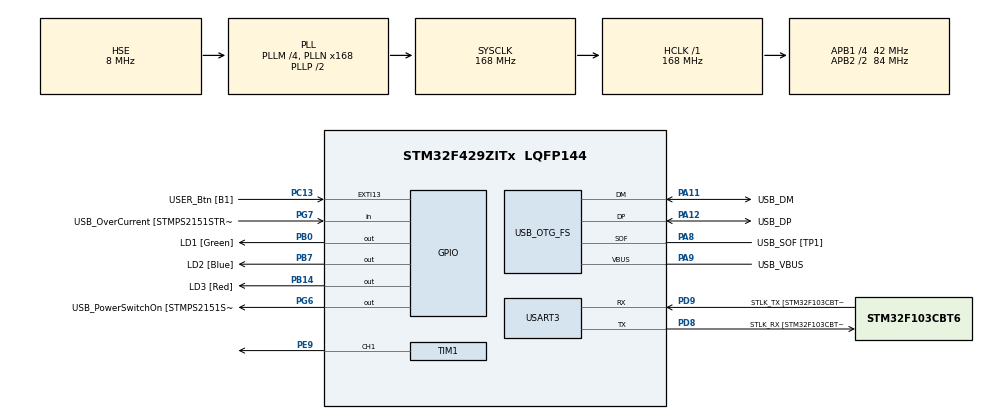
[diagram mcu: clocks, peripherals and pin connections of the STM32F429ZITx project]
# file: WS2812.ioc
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Mcu.Family=STM32F4
RCC.CortexFreq_Value=168000000
PG6.Signal=GPIO_Output
PB14.GPIO_Label=LD3 [Red]
PG6.GPIO_Label=USB_PowerSwitchOn [STMPS2151STR_EN]
PA14.GPIO_Label=TCK
RCC.SYSCLKSourceVirtual=RCC_SYSCLKSOURCE_PLLCLK
Dma.TIM1_CH1.0.MemDataAlignment=DMA_MDATAALIGN_HALFWORD
PA11.Mode=Device_Only
PB0.GPIO_Label=LD1 [Green]
PC14/OSC32_IN.Mode=LSE-External-Oscillator
PC13.GPIO_Label=USER_Btn [B1]
PD9.Mode=Asynchronous
RCC.SYSCLKSource=RCC_SYSCLKSOURCE_PLLCLK
ProjectManager.StackSize=0x400
Dma.TIM1_CH1.0.MemInc=DMA_MINC_ENABLE
PA12.Signal=USB_OTG_FS_DP
PH0/OSC_IN.Mode=HSE-External-Clock-Source
RCC.HCLKFreq_Value=168000000
RCC.APB2TimFreq_Value=168000000
PH1/OSC_OUT.Signal=RCC_OSC_OUT
PD8.Signal=USART3_TX
RCC.AHBFreq_Value=168000000
RCC.HSE_VALUE=8000000
RCC.PLLMUL=RCC_PLL_MUL9
TIM1.Channel-PWM\ Generation1\ CH1=TIM_CHANNEL_1
PE9.Signal=S_TIM1_CH1
PA14.Mode=Serial_Wire
PA10.GPIO_Label=USB_ID
PB7.Signal=GPIO_Output
PA8.Signal=USB_OTG_FS_SOF
PH1/OSC_OUT.Mode=HSE-External-Clock-Source
VP_TIM1_VS_ClockSourceINT.Mode=Internal
PB7.GPIO_Label=LD2 [Blue]
Mcu.Package=LQFP144
PC14/OSC32_IN.Signal=RCC_OSC32_IN
PA10.Signal=USB_OTG_FS_ID
USB_OTG_FS.VirtualMode=Device_Only
RCC.APB2CLKDivider=RCC_HCLK_DIV2
RCC.APB1TimFreq_Value=84000000
TIM1.Period=210-1
Dma.Request0=TIM1_CH1
PG7.Signal=GPIO_Input
PD9.GPIO_Label=STLK_TX [STM32F103CBT6_PA2]
PC13.Signal=GPXTI13
PA9.GPIO_Label=USB_VBUS
PA11.GPIO_Label=USB_DM
PD9.Signal=USART3_RX
Dma.TIM1_CH1.0.FIFOMode=DMA_FIFOMODE_DISABLE
NVIC.DMA2_Stream1_IRQn=true\:0\:0\:false\:false\:true\:false\:true
RCC.APB1CLKDivider=RCC_HCLK_DIV4
Dma.TIM1_CH1.0.PeriphDataAlignment=DMA_PDATAALIGN_HALFWORD
PA12.GPIO_Label=USB_DP
Dma.TIM1_CH1.0.Priority=DMA_PRIORITY_LOW
PD8.GPIO_Label=STLK_RX [STM32F103CBT6_PA3]
Dma.TIM1_CH1.0.PeriphInc=DMA_PINC_DISABLE
PA13.Signal=SYS_JTMS-SWDIO
PA9.Mode=Activate_VBUS
Dma.TIM1_CH1.0.Mode=DMA_NORMAL
PA8.GPIO_Label=USB_SOF [TP1]
SH.S_TIM1_CH1.0=TIM1_CH1,PWM Generation1 CH1
ProjectManager.TargetToolchain=STM32CubeIDE
PA9.Signal=USB_OTG_FS_VBUS
RCC.USBFreq_Value=48000000
PD8.Mode=Asynchronous
PB14.Signal=GPIO_Output
board=NUCLEO-F429ZI
RCC.VCOOutputFreq_Value=336000000
PH0/OSC_IN.Signal=RCC_OSC_IN
RCC.APB2Freq_Value=84000000
RCC.PRESCALERUSB=RCC_USBCLKSOURCE_PLL_DIV1_5
PG7.GPIO_Label=USB_OverCurrent [STMPS2151STR_FAULT]
PA13.Mode=Serial_Wire
Mcu.Name=STM32F429ZITx
PA13.GPIO_Label=TMS
Dma.TIM1_CH1.0.Direction=DMA_MEMORY_TO_PERIPH
RCC.APB2TimCLKDivider=2
RCC.48MHZClocksFreq_Value=48000000
RCC.SYSCLKFreq_VALUE=168000000
Dma.TIM1_CH1.0.Instance=DMA2_Stream1
PA12.Mode=Device_Only
USART3.VirtualMode=VM_ASYNC
PC15/OSC32_OUT.Mode=LSE-External-Oscillator
PA11.Signal=USB_OTG_FS_DM
PA14.Signal=SYS_JTCK-SWCLK
ProjectManager.HeapSize=0x200
RCC.HSI_VALUE=16000000
PH0/OSC_IN.GPIO_Label=MCO [STM32F103CBT6_PA8]
RCC.PLLQ=7
NVIC.PriorityGroup=NVIC_PRIORITYGROUP_4
RCC.PLLM=4
RCC.PLLN=168
PC15/OSC32_OUT.Signal=RCC_OSC32_OUT
PA8.Mode=Activate_SOF_FS
RCC.APB1Freq_Value=42000000
PB0.Signal=GPIO_Output

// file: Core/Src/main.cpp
/* USER CODE BEGIN Header */
/**
  ******************************************************************************
  * @file           : main.c
  * @brief          : Main program body
  ******************************************************************************
  * @attention
  *
  * <h2><center>&copy; Copyright (c) 2021 STMicroelectronics.
  * All rights reserved.</center></h2>
  *
  * This software component is licensed by ST under BSD 3-Clause license,
  * the "License"; You may not use this file except in compliance with the
  * License. You may obtain a copy of the License at:
  *                        opensource.org/licenses/BSD-3-Clause
  *
  ******************************************************************************
  */
/* USER CODE END Header */
#include "main.h"

TIM_HandleTypeDef htim1;
DMA_HandleTypeDef hdma_tim1_ch1;

UART_HandleTypeDef huart3;

PCD_HandleTypeDef hpcd_USB_OTG_FS;

void SystemClock_Config(void);
static void MX_GPIO_Init(void);
static void MX_DMA_Init(void);
static void MX_USART3_UART_Init(void);
static void MX_USB_OTG_FS_PCD_Init(void);
static void MX_TIM1_Init(void);

/* USER CODE BEGIN 0 */

#include <WS2812.h>

void HAL_TIM_PWM_PulseFinishedCallback(TIM_HandleTypeDef *htim);

//uint16_t pwmData [24];
//
//void send (int Green, int Red, int Blue){
//	uint32_t data = (Green<<16)|(Red<<8)|(Blue);
//
//	uint32_t indx=0;
//
//	for (int i = 23; i>=0; i--){
//		if (data&(1<<i)) pwmData[indx/*23-i*/] = 140;
//		else pwmData[indx/*23-i*/] = 70;
//		indx++;
//	}
//
//	HAL_TIM_PWM_Start_DMA(&htim1, TIM_CHANNEL_1, (uint32_t*) pwmData, 24);
//}
/* USER CODE END 0 */

int main(void)
{

  /* MCU Configuration--------------------------------------------------------*/

  /* Reset of all peripherals, Initializes the Flash interface and the Systick. */
  HAL_Init();

  /* Configure the system clock */
  SystemClock_Config();

  /* Initialize all configured peripherals */
  MX_GPIO_Init();
  MX_DMA_Init();
  MX_USART3_UART_Init();
  MX_USB_OTG_FS_PCD_Init();
  MX_TIM1_Init();
  /* USER CODE BEGIN 2 */

  WS2812 display = WS2812(4, &htim1, TIM_CHANNEL_1);

  HAL_Delay(100);
  display.setLedColor(1, 128, 0, 0);
  display.sendData();
  HAL_Delay(5000);
  display.setLedColor(2, 128, 128, 0);
  display.setLedColor(3, 255, 255, 255);
  display.sendData();
  HAL_Delay(5000);
  display.setLedColor(1, 0, 0, 255);
  display.setLedColor(2, 0, 0, 0);
  display.setLedColor(3, 255, 255, 255);
  //display.setLedColor(4, 255, 255, 255);
  display.setLedColorWithBrightness(4, 255, 255, 255, 20);

  display.sendData();
  /* USER CODE END 2 */

  /* Infinite loop */
  /* USER CODE BEGIN WHILE */
  uint8_t color_VAL = 0;
  bool cout = 0;
  while (1)
  {
    /* USER CODE END WHILE */
	  display.setLedColorWithBrightness(1, 255, 255, 255, color_VAL);
	  display.setLedColorWithBrightness(4, 0, 255, 255, color_VAL);
	  display.sendData();

	  if (cout == 0)
			  color_VAL ++;
	  else
		  color_VAL --;

	  if (color_VAL == 0)
		  cout = 0;
	  if (color_VAL == 175)
		  cout = 1;
	  HAL_Delay(10);

  }
}

void SystemClock_Config(void)
{
  RCC_OscInitTypeDef RCC_OscInitStruct = {0};
  RCC_ClkInitTypeDef RCC_ClkInitStruct = {0};

  /** Configure the main internal regulator output voltage
  */
  __HAL_RCC_PWR_CLK_ENABLE();
  __HAL_PWR_VOLTAGESCALING_CONFIG(PWR_REGULATOR_VOLTAGE_SCALE1);
  /** Initializes the RCC Oscillators according to the specified parameters
  * in the RCC_OscInitTypeDef structure.
  */
  RCC_OscInitStruct.OscillatorType = RCC_OSCILLATORTYPE_HSE;
  RCC_OscInitStruct.HSEState = RCC_HSE_BYPASS;
  RCC_OscInitStruct.PLL.PLLState = RCC_PLL_ON;
  RCC_OscInitStruct.PLL.PLLSource = RCC_PLLSOURCE_HSE;
  RCC_OscInitStruct.PLL.PLLM = 4;
  RCC_OscInitStruct.PLL.PLLN = 168;
  RCC_OscInitStruct.PLL.PLLP = RCC_PLLP_DIV2;
  RCC_OscInitStruct.PLL.PLLQ = 7;
  if (HAL_RCC_OscConfig(&RCC_OscInitStruct) != HAL_OK)
  {
    Error_Handler();
  }
  /** Initializes the CPU, AHB and APB buses clocks
  */
  RCC_ClkInitStruct.ClockType = RCC_CLOCKTYPE_HCLK|RCC_CLOCKTYPE_SYSCLK
                              |RCC_CLOCKTYPE_PCLK1|RCC_CLOCKTYPE_PCLK2;
  RCC_ClkInitStruct.SYSCLKSource = RCC_SYSCLKSOURCE_PLLCLK;
  RCC_ClkInitStruct.AHBCLKDivider = RCC_SYSCLK_DIV1;
  RCC_ClkInitStruct.APB1CLKDivider = RCC_HCLK_DIV4;
  RCC_ClkInitStruct.APB2CLKDivider = RCC_HCLK_DIV2;

  if (HAL_RCC_ClockConfig(&RCC_ClkInitStruct, FLASH_LATENCY_5) != HAL_OK)
  {
    Error_Handler();
  }
}

static void MX_TIM1_Init(void)
{

  TIM_ClockConfigTypeDef sClockSourceConfig = {0};
  TIM_MasterConfigTypeDef sMasterConfig = {0};
  TIM_OC_InitTypeDef sConfigOC = {0};
  TIM_BreakDeadTimeConfigTypeDef sBreakDeadTimeConfig = {0};

  htim1.Instance = TIM1;
  htim1.Init.Prescaler = 0;
  htim1.Init.CounterMode = TIM_COUNTERMODE_UP;
  htim1.Init.Period = 210-1;
  htim1.Init.ClockDivision = TIM_CLOCKDIVISION_DIV1;
  htim1.Init.RepetitionCounter = 0;
  htim1.Init.AutoReloadPreload = TIM_AUTORELOAD_PRELOAD_DISABLE;
  if (HAL_TIM_Base_Init(&htim1) != HAL_OK)
  {
    Error_Handler();
  }
  sClockSourceConfig.ClockSource = TIM_CLOCKSOURCE_INTERNAL;
  if (HAL_TIM_ConfigClockSource(&htim1, &sClockSourceConfig) != HAL_OK)
  {
    Error_Handler();
  }
  if (HAL_TIM_PWM_Init(&htim1) != HAL_OK)
  {
    Error_Handler();
  }
  sMasterConfig.MasterOutputTrigger = TIM_TRGO_RESET;
  sMasterConfig.MasterSlaveMode = TIM_MASTERSLAVEMODE_DISABLE;
  if (HAL_TIMEx_MasterConfigSynchronization(&htim1, &sMasterConfig) != HAL_OK)
  {
    Error_Handler();
  }
  sConfigOC.OCMode = TIM_OCMODE_PWM1;
  sConfigOC.Pulse = 0;
  sConfigOC.OCPolarity = TIM_OCPOLARITY_HIGH;
  sConfigOC.OCNPolarity = TIM_OCNPOLARITY_HIGH;
  sConfigOC.OCFastMode = TIM_OCFAST_DISABLE;
  sConfigOC.OCIdleState = TIM_OCIDLESTATE_RESET;
  sConfigOC.OCNIdleState = TIM_OCNIDLESTATE_RESET;
  if (HAL_TIM_PWM_ConfigChannel(&htim1, &sConfigOC, TIM_CHANNEL_1) != HAL_OK)
  {
    Error_Handler();
  }
  sBreakDeadTimeConfig.OffStateRunMode = TIM_OSSR_DISABLE;
  sBreakDeadTimeConfig.OffStateIDLEMode = TIM_OSSI_DISABLE;
  sBreakDeadTimeConfig.LockLevel = TIM_LOCKLEVEL_OFF;
  sBreakDeadTimeConfig.DeadTime = 0;
  sBreakDeadTimeConfig.BreakState = TIM_BREAK_DISABLE;
  sBreakDeadTimeConfig.BreakPolarity = TIM_BREAKPOLARITY_HIGH;
  sBreakDeadTimeConfig.AutomaticOutput = TIM_AUTOMATICOUTPUT_DISABLE;
  if (HAL_TIMEx_ConfigBreakDeadTime(&htim1, &sBreakDeadTimeConfig) != HAL_OK)
  {
    Error_Handler();
  }
  HAL_TIM_MspPostInit(&htim1);

}

static void MX_USART3_UART_Init(void)
{

  huart3.Instance = USART3;
  huart3.Init.BaudRate = 115200;
  huart3.Init.WordLength = UART_WORDLENGTH_8B;
  huart3.Init.StopBits = UART_STOPBITS_1;
  huart3.Init.Parity = UART_PARITY_NONE;
  huart3.Init.Mode = UART_MODE_TX_RX;
  huart3.Init.HwFlowCtl = UART_HWCONTROL_NONE;
  huart3.Init.OverSampling = UART_OVERSAMPLING_16;
  if (HAL_UART_Init(&huart3) != HAL_OK)
  {
    Error_Handler();
  }

}

static void MX_USB_OTG_FS_PCD_Init(void)
{

  hpcd_USB_OTG_FS.Instance = USB_OTG_FS;
  hpcd_USB_OTG_FS.Init.dev_endpoints = 4;
  hpcd_USB_OTG_FS.Init.speed = PCD_SPEED_FULL;
  hpcd_USB_OTG_FS.Init.dma_enable = DISABLE;
  hpcd_USB_OTG_FS.Init.phy_itface = PCD_PHY_EMBEDDED;
  hpcd_USB_OTG_FS.Init.Sof_enable = ENABLE;
  hpcd_USB_OTG_FS.Init.low_power_enable = DISABLE;
  hpcd_USB_OTG_FS.Init.lpm_enable = DISABLE;
  hpcd_USB_OTG_FS.Init.vbus_sensing_enable = ENABLE;
  hpcd_USB_OTG_FS.Init.use_dedicated_ep1 = DISABLE;
  if (HAL_PCD_Init(&hpcd_USB_OTG_FS) != HAL_OK)
  {
    Error_Handler();
  }

}

static void MX_DMA_Init(void)
{

  /* DMA controller clock enable */
  __HAL_RCC_DMA2_CLK_ENABLE();

  /* DMA interrupt init */
  /* DMA2_Stream1_IRQn interrupt configuration */
  HAL_NVIC_SetPriority(DMA2_Stream1_IRQn, 0, 0);
  HAL_NVIC_EnableIRQ(DMA2_Stream1_IRQn);

}

static void MX_GPIO_Init(void)
{
  GPIO_InitTypeDef GPIO_InitStruct = {0};

  /* GPIO Ports Clock Enable */
  __HAL_RCC_GPIOC_CLK_ENABLE();
  __HAL_RCC_GPIOH_CLK_ENABLE();
  __HAL_RCC_GPIOB_CLK_ENABLE();
  __HAL_RCC_GPIOE_CLK_ENABLE();
  __HAL_RCC_GPIOD_CLK_ENABLE();
  __HAL_RCC_GPIOG_CLK_ENABLE();
  __HAL_RCC_GPIOA_CLK_ENABLE();

  /*Configure GPIO pin Output Level */
  HAL_GPIO_WritePin(GPIOB, LD1_Pin|LD3_Pin|LD2_Pin, GPIO_PIN_RESET);

  /*Configure GPIO pin Output Level */
  HAL_GPIO_WritePin(USB_PowerSwitchOn_GPIO_Port, USB_PowerSwitchOn_Pin, GPIO_PIN_RESET);

  /*Configure GPIO pin : USER_Btn_Pin */
  GPIO_InitStruct.Pin = USER_Btn_Pin;
  GPIO_InitStruct.Mode = GPIO_MODE_IT_RISING;
  GPIO_InitStruct.Pull = GPIO_NOPULL;
  HAL_GPIO_Init(USER_Btn_GPIO_Port, &GPIO_InitStruct);

  /*Configure GPIO pins : LD1_Pin LD3_Pin LD2_Pin */
  GPIO_InitStruct.Pin = LD1_Pin|LD3_Pin|LD2_Pin;
  GPIO_InitStruct.Mode = GPIO_MODE_OUTPUT_PP;
  GPIO_InitStruct.Pull = GPIO_NOPULL;
  GPIO_InitStruct.Speed = GPIO_SPEED_FREQ_LOW;
  HAL_GPIO_Init(GPIOB, &GPIO_InitStruct);

  /*Configure GPIO pin : USB_PowerSwitchOn_Pin */
  GPIO_InitStruct.Pin = USB_PowerSwitchOn_Pin;
  GPIO_InitStruct.Mode = GPIO_MODE_OUTPUT_PP;
  GPIO_InitStruct.Pull = GPIO_NOPULL;
  GPIO_InitStruct.Speed = GPIO_SPEED_FREQ_LOW;
  HAL_GPIO_Init(USB_PowerSwitchOn_GPIO_Port, &GPIO_InitStruct);

  /*Configure GPIO pin : USB_OverCurrent_Pin */
  GPIO_InitStruct.Pin = USB_OverCurrent_Pin;
  GPIO_InitStruct.Mode = GPIO_MODE_INPUT;
  GPIO_InitStruct.Pull = GPIO_NOPULL;
  HAL_GPIO_Init(USB_OverCurrent_GPIO_Port, &GPIO_InitStruct);

}

/* USER CODE BEGIN 4 */
void HAL_TIM_PWM_PulseFinishedCallback(TIM_HandleTypeDef *htim){
	HAL_TIM_PWM_Stop_DMA(&htim1, TIM_CHANNEL_1);
//	HAL_GPIO_WritePin(LD1_GPIO_Port, LD1_Pin, GPIO_PIN_SET);

}
/* USER CODE END 4 */

void Error_Handler(void)
{
  __disable_irq();
  while (1)
  {
  }
}

/************************ (C) COPYRIGHT STMicroelectronics *****END OF FILE****/
